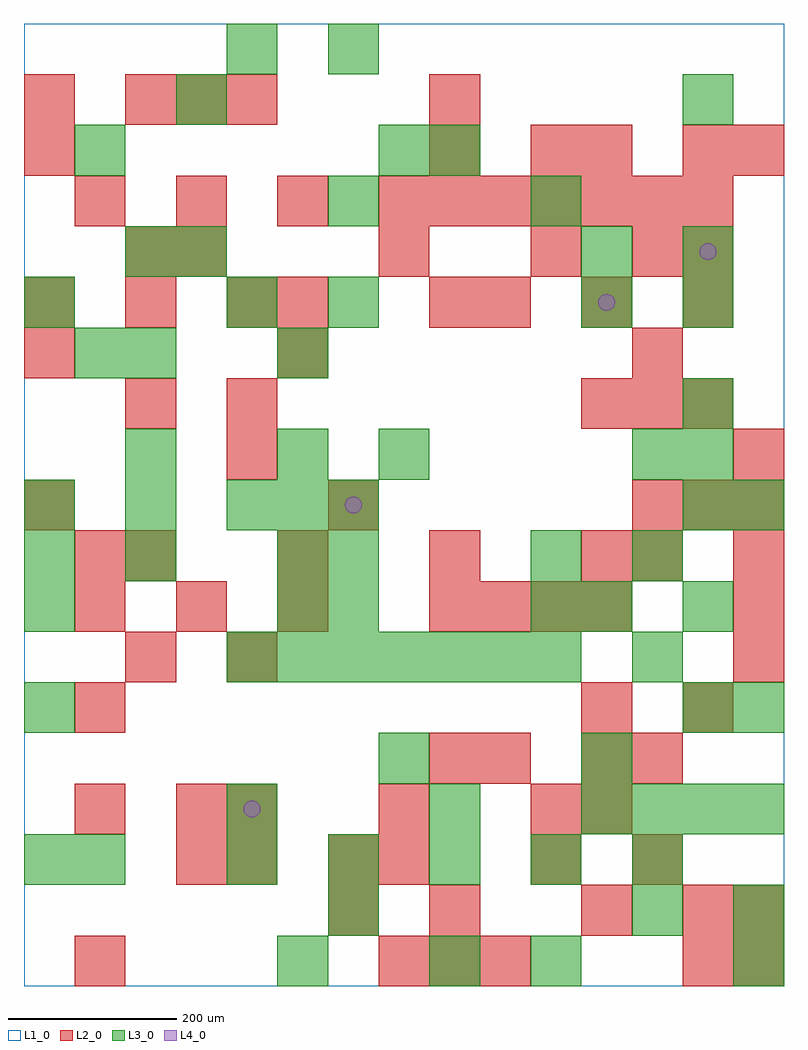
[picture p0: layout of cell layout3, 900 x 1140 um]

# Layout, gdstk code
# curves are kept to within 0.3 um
import gdstk
lib = gdstk.Library(unit=1e-6, precision=1e-09)
def R(c, l, rs):  # rectangles x0, y0, x1, y1
    for r in rs: c.add(gdstk.rectangle(r[:2], r[2:], *l))
def A(c, l, x, y, w, h, nx, ny, dx, dy):  # array of equal rectangles
    R(c, l, [(x+i*dx, y+j*dy, x+i*dx+w, y+j*dy+h) for i in range(nx) for j in range(ny)])
def P(c, l, *ps):  # polygons
    for p in ps: c.add(gdstk.Polygon(p, *l))
L1_0 = (1, 0)
L2_0 = (2, 0)
L3_0 = (3, 0)
L4_0 = (4, 0)

layout3 = lib.new_cell('layout3')
R(layout3, L1_0, [(0,0,900,1140)])
A(layout3, L2_0, 420, 0, 60, 60, 3, 1, 60, 0)
A(layout3, L2_0, 780, 60, 60, 60, 1, 3, 0, 240)
A(layout3, L2_0, 240, 120, 60, 60, 1, 3, 0, 240)
A(layout3, L2_0, 240, 180, 60, 60, 3, 1, 180, 0)
A(layout3, L2_0, 660, 180, 60, 60, 1, 3, 0, 60)
A(layout3, L2_0, 720, 240, 60, 60, 1, 3, 0, 240)
A(layout3, L2_0, 840, 360, 60, 60, 1, 5, 0, 60)
A(layout3, L2_0, 60, 420, 60, 60, 3, 1, 120, 0)
A(layout3, L2_0, 480, 420, 60, 60, 4, 1, 60, 0)
A(layout3, L2_0, 120, 480, 60, 60, 4, 1, 180, 0)
A(layout3, L2_0, 0, 540, 60, 60, 3, 1, 360, 0)
A(layout3, L2_0, 660, 660, 60, 60, 3, 1, 60, 0)
A(layout3, L2_0, 0, 780, 60, 60, 3, 1, 120, 0)
A(layout3, L2_0, 540, 780, 60, 60, 3, 1, 120, 0)
A(layout3, L2_0, 60, 900, 60, 60, 4, 1, 120, 0)
A(layout3, L2_0, 480, 900, 60, 60, 6, 1, 60, 0)
A(layout3, L2_0, 120, 1020, 60, 60, 3, 1, 60, 0)
R(layout3, L2_0, [(60,0,120,60), (780,0,840,60), (840,0,900,60), (360,60,420,120), (480,60,540,120), (660,60,720,120), (840,60,900,120), (180,120,240,180), (360,120,420,180), (420,120,480,180), (600,120,660,180), (720,120,780,180), (60,180,120,240), (180,180,240,240), (480,240,540,300), (540,240,600,300), (60,300,120,360), (120,360,180,420), (60,480,120,540), (120,660,180,720), (240,660,300,720), (0,720,60,780), (300,720,360,780), (300,780,360,840), (480,780,540,840), (120,840,180,900), (180,840,240,900), (420,840,480,900), (600,840,660,900), (720,840,780,900), (780,840,840,900), (0,960,60,1020), (480,960,540,1020), (600,960,660,1020), (660,960,720,1020), (780,960,840,1020), (840,960,900,1020), (0,1020,60,1080), (480,1020,540,1080)])
A(layout3, L3_0, 840, 60, 60, 60, 1, 3, 0, 240)
A(layout3, L3_0, 240, 120, 60, 60, 5, 1, 120, 0)
A(layout3, L3_0, 660, 180, 60, 60, 4, 1, 60, 0)
A(layout3, L3_0, 420, 240, 60, 60, 1, 3, 0, 360)
A(layout3, L3_0, 780, 300, 60, 60, 1, 3, 0, 120)
A(layout3, L3_0, 240, 360, 60, 60, 7, 1, 60, 0)
A(layout3, L3_0, 720, 360, 60, 60, 1, 3, 0, 120)
A(layout3, L3_0, 300, 420, 60, 60, 1, 4, 0, 60)
A(layout3, L3_0, 360, 420, 60, 60, 1, 3, 0, 60)
A(layout3, L3_0, 120, 480, 60, 60, 1, 4, 0, 120)
A(layout3, L3_0, 0, 540, 60, 60, 3, 1, 120, 0)
R(layout3, L3_0, [(300,0,360,60), (480,0,540,60), (600,0,660,60), (840,0,900,60), (360,60,420,120), (720,60,780,120), (0,120,60,180), (60,120,120,180), (240,180,300,240), (480,180,540,240), (660,240,720,300), (0,300,60,360), (0,420,60,480), (600,420,660,480), (660,420,720,480), (0,480,60,540), (600,480,660,540), (780,600,840,660), (780,660,840,720), (60,720,120,780), (300,720,360,780), (0,780,60,840), (240,780,300,840), (360,780,420,840), (660,780,720,840), (780,780,840,840), (180,840,240,900), (660,840,720,900), (780,840,840,900), (360,900,420,960), (600,900,660,960), (60,960,120,1020), (480,960,540,1020), (180,1020,240,1080), (780,1020,840,1080), (240,1080,300,1140), (360,1080,420,1140)])
P(layout3, L4_0, [(280,210),(279.239,213.827),(277.071,217.071),(273.827,219.239),(270,220),(266.173,219.239),(262.929,217.071),(260.761,213.827),(260,210),(260.761,206.173),(262.929,202.929),(266.173,200.761),(270,200),(273.827,200.761),(277.071,202.929),(279.239,206.173)],
  [(400,570),(399.239,573.827),(397.071,577.071),(393.827,579.239),(390,580),(386.173,579.239),(382.929,577.071),(380.761,573.827),(380,570),(380.761,566.173),(382.929,562.929),(386.173,560.761),(390,560),(393.827,560.761),(397.071,562.929),(399.239,566.173)],
  [(700,810),(699.239,813.827),(697.071,817.071),(693.827,819.239),(690,820),(686.173,819.239),(682.929,817.071),(680.761,813.827),(680,810),(680.761,806.173),(682.929,802.929),(686.173,800.761),(690,800),(693.827,800.761),(697.071,802.929),(699.239,806.173)],
  [(820,870),(819.239,873.827),(817.071,877.071),(813.827,879.239),(810,880),(806.173,879.239),(802.929,877.071),(800.761,873.827),(800,870),(800.761,866.173),(802.929,862.929),(806.173,860.761),(810,860),(813.827,860.761),(817.071,862.929),(819.239,866.173)])

lib.write_gds('layout3.gds')
